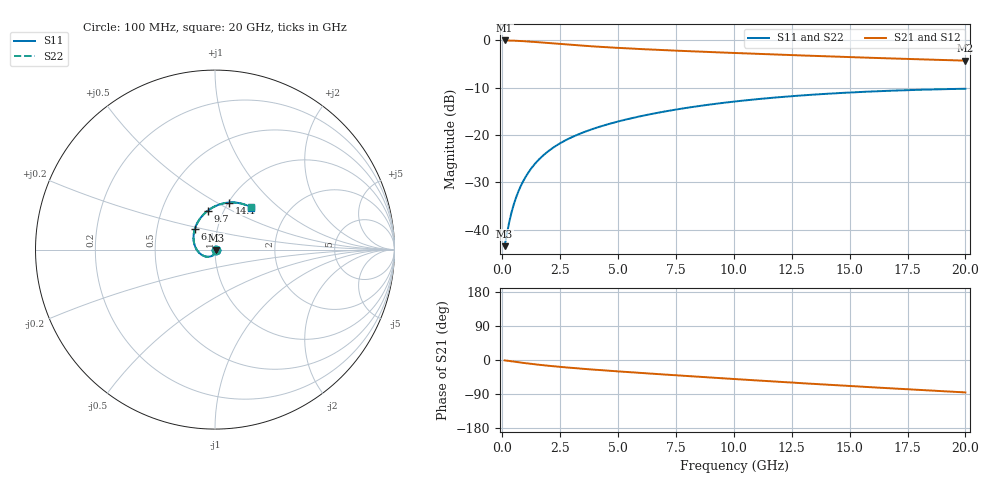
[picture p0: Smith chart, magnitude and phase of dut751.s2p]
! Touchstone file exported from HFSS 2024.1.0
!  File:  C:/UserFiles/LocalFiles/RDL_TSV_Batchsim/temp_RDL_TSV_751_1779897881.aedt
!  Generated:  12:21:59 AM May 28, 2026
!  Design:  RDL_TSV
!  Project:  temp_RDL_TSV_751_1779897881
!  Setup:  Setup1
!  Solution:  Sweep
! Variables:
!  dtsv = 7.76um
!  hbump = 3um
!  htsv = 86.68um
!  ldown = 107.81um
!  lrdl = 109.48um
!  p = 40
!  p1 = 43.88um
!  rhole = 10um
!  subl = 761.35um
!  t = 450um
!  tdown = 3.02um
!  trdl = 3.16um
!  viad = 10um
!  wdown = 16.21um
!  wrdl = 28.51um
!  xbump = 18um
# GHz S MA R 50.000000
! Terminal data exported
! Port[1] = TM1_1_T1
! Port[2] = TM1_4_T1
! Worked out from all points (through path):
!   200 points, 100 MHz to 20 GHz, reference 50 ohm
!   highest |S21| = -0.05 dB at 100 MHz (marker M1); lowest = -4.3 dB at 20 GHz (marker M2)
!   group delay of S21, straight-line fit = 11.1 ps
!   lowest |S11| = -43.4 dB at 100 MHz (marker M3), VSWR 1.01, Z = 50.6 - j0.389 ohm
!   |S11| at or under -10 dB: start of sweep to end of sweep
!   |S22| runs from -43.4 to -10.2 dB; largest |S21 - S12| = 1.1e-14
!   S11 on the Smith chart (normalised r, x): 100 MHz: 1.01, -0.01; 6.1 GHz: 0.78, +0.18; 9.7 GHz: 0.84, +0.39; 14.1 GHz: 1.01, +0.57; 20 GHz: 1.30, +0.67
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0.1  0.006739 -34.8  0.994 -0.9  0.994 -0.9  0.006739 -34.8
! Gamma 0 0 0 0
! Port Impedance 50 0 50 0
0.3  0.01211 -71.0  0.9921 -2.6  0.9921 -2.6  0.01211 -71.0
0.4  0.01534 -80.4  0.9906 -3.5  0.9906 -3.5  0.01534 -80.4
0.5  0.01871 -87.6  0.9886 -4.3  0.9886 -4.3  0.01871 -87.6
0.6  0.02214 -93.6  0.9862 -5.2  0.9862 -5.2  0.02213 -93.6
0.7  0.0256 -98.9  0.9835 -6.0  0.9835 -6.0  0.02559 -98.9
0.9  0.03254 -108.1  0.9773 -7.6  0.9773 -7.6  0.03253 -108.1
1.2  0.04279 -120.1  0.9664 -9.9  0.9664 -9.9  0.04278 -120.1
1.6  0.05584 -134.2  0.9501 -12.7  0.9501 -12.7  0.05584 -134.2
2.1  0.07091 -149.7  0.929 -15.8  0.929 -15.8  0.07091 -149.7
2.7  0.08725 -165.9  0.9043 -19.2  0.9043 -19.2  0.08725 -165.9
3.5  0.1067 175.9  0.8746 -23.3  0.8746 -23.3  0.1068 175.9
4.7  0.1329 154.1  0.8379 -28.7  0.8379 -28.7  0.1329 154.1
6.1  0.1605 134.5  0.8041 -34.6  0.8041 -34.6  0.1605 134.5
6.8  0.1734 126.4  0.7896 -37.5  0.7896 -37.5  0.1734 126.4
8.2  0.1975 112.6  0.7636 -43.1  0.7636 -43.1  0.1976 112.6
9.7  0.2209 100.3  0.7386 -49.0  0.7386 -49.0  0.221 100.3
10.1  0.2267 97.4  0.7323 -50.5  0.7323 -50.5  0.2267 97.4
13.4  0.2665 77.2  0.6844 -62.9  0.6844 -62.9  0.2666 77.2
14.1  0.2732 73.6  0.6751 -65.4  0.6751 -65.4  0.2732 73.6
16.7  0.293 61.9  0.6434 -74.5  0.6434 -74.5  0.293 61.9
20  0.3078 49.6  0.6092 -85.6  0.6092 -85.6  0.3078 49.6
